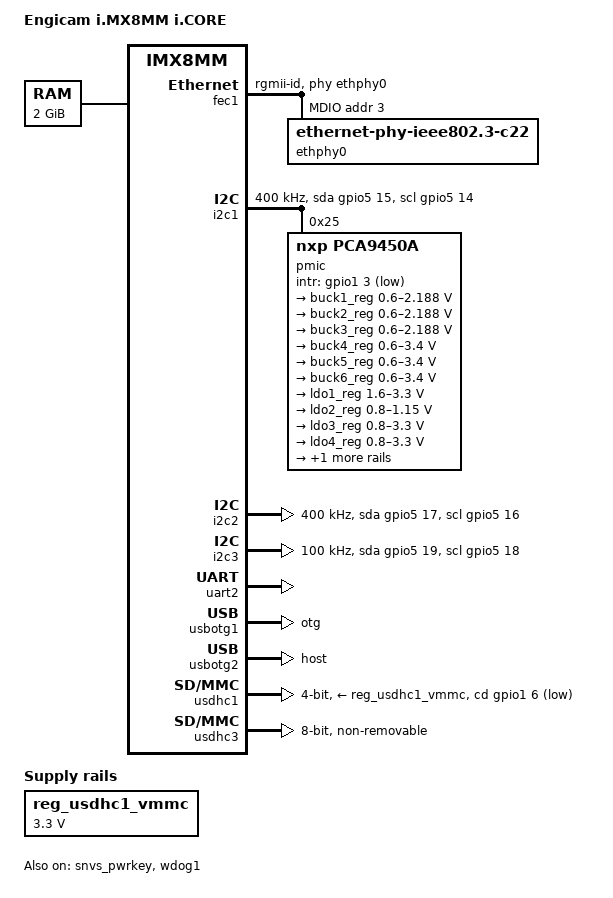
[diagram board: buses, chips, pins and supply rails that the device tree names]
// SPDX-License-Identifier: (GPL-2.0+ OR MIT)
/*
 * Copyright 2020 NXP
 */

/dts-v1/;

#include <dt-bindings/usb/pd.h>
#include "imx8mm.dtsi"

/ {
	model = "Engicam i.MX8MM i.CORE";
	compatible = "fsl,imx8mm-icore", "fsl,imx8mm";

	chosen {
		bootargs = "console=ttymxc1,115200 earlycon=ec_imx6q,0x30890000,115200";
		stdout-path = &uart2;
	};

	memory@40000000 {
		device_type = "memory";
		reg = <0x0 0x40000000 0 0x80000000>;
	};

	reg_usdhc1_vmmc: regulator-usdhc1 {
		compatible = "regulator-fixed";
		regulator-name = "VSDHC1_3V3";
		regulator-min-microvolt = <3300000>;
		regulator-max-microvolt = <3300000>;
		always-on;
	};
};

&A53_0 {
	cpu-supply = <&buck2_reg>;
};

&A53_1 {
	cpu-supply = <&buck2_reg>;
};

&A53_2 {
	cpu-supply = <&buck2_reg>;
};

&A53_3 {
	cpu-supply = <&buck2_reg>;
};

&fec1 {
	pinctrl-names = "default";
	pinctrl-0 = <&pinctrl_fec1>;
	phy-mode = "rgmii-id";
	phy-handle = <&ethphy0>;
	fsl,magic-packet;
	status = "okay";

	mdio {
		#address-cells = <1>;
		#size-cells = <0>;

		ethphy0: ethernet-phy@3 {
			compatible = "ethernet-phy-ieee802.3-c22";
			reg = <3>;
		};
	};
};

&i2c1 {
	clock-frequency = <400000>;
	pinctrl-names = "default", "gpio";
	pinctrl-0 = <&pinctrl_i2c1>;
	pinctrl-1 = <&pinctrl_i2c1_gpio>;
	scl-gpios = <&gpio5 14 GPIO_ACTIVE_HIGH>;
	sda-gpios = <&gpio5 15 GPIO_ACTIVE_HIGH>;

	pmic: pca9450@25 {
		reg = <0x25>;
		compatible = "nxp,pca9450a";
		/* PMIC PCA9450 PMIC_nINT GPIO1_IO3 */
		pinctrl-0 = <&pinctrl_pmic>;
		gpio_intr = <&gpio1 3 GPIO_ACTIVE_LOW>;

		regulators {
			#address-cells = <1>;
			#size-cells = <0>;

			pca9450,pmic-buck2-uses-i2c-dvs;
			/* Run/Standby voltage */
			pca9450,pmic-buck2-dvs-voltage = <950000>, <850000>;

			buck1_reg: regulator@0 {
				reg = <0>;
				regulator-compatible = "buck1";
				regulator-min-microvolt = <600000>;
				regulator-max-microvolt = <2187500>;
				regulator-boot-on;
				regulator-always-on;
				regulator-ramp-delay = <3125>;
			};

			buck2_reg: regulator@1 {
				reg = <1>;
				regulator-compatible = "buck2";
				regulator-min-microvolt = <600000>;
				regulator-max-microvolt = <2187500>;
				regulator-boot-on;
				regulator-always-on;
				regulator-ramp-delay = <3125>;
			};

			buck3_reg: regulator@2 {
				reg = <2>;
				regulator-compatible = "buck3";
				regulator-min-microvolt = <600000>;
				regulator-max-microvolt = <2187500>;
				regulator-boot-on;
				regulator-always-on;
			};

			buck4_reg: regulator@3 {
				reg = <3>;
				regulator-compatible = "buck4";
				regulator-min-microvolt = <600000>;
				regulator-max-microvolt = <3400000>;
				regulator-boot-on;
				regulator-always-on;
			};

			buck5_reg: regulator@4 {
				reg = <4>;
				regulator-compatible = "buck5";
				regulator-min-microvolt = <600000>;
				regulator-max-microvolt = <3400000>;
				regulator-boot-on;
				regulator-always-on;
			};

			buck6_reg: regulator@5 {
				reg = <5>;
				regulator-compatible = "buck6";
				regulator-min-microvolt = <600000>;
				regulator-max-microvolt = <3400000>;
				regulator-boot-on;
				regulator-always-on;
			};

			ldo1_reg: regulator@6 {
				reg = <6>;
				regulator-compatible = "ldo1";
				regulator-min-microvolt = <1600000>;
				regulator-max-microvolt = <3300000>;
				regulator-boot-on;
				regulator-always-on;
			};

			ldo2_reg: regulator@7 {
				reg = <7>;
				regulator-compatible = "ldo2";
				regulator-min-microvolt = <800000>;
				regulator-max-microvolt = <1150000>;
				regulator-boot-on;
				regulator-always-on;
			};

			ldo3_reg: regulator@8 {
				reg = <8>;
				regulator-compatible = "ldo3";
				regulator-min-microvolt = <800000>;
				regulator-max-microvolt = <3300000>;
				regulator-boot-on;
				regulator-always-on;
			};

			ldo4_reg: regulator@9 {
				reg = <9>;
				regulator-compatible = "ldo4";
				regulator-min-microvolt = <800000>;
				regulator-max-microvolt = <3300000>;
				regulator-boot-on;
				regulator-always-on;
			};

			ldo5_reg: regulator@10 {
				reg = <10>;
				regulator-compatible = "ldo5";
				regulator-min-microvolt = <1800000>;
				regulator-max-microvolt = <3300000>;
			};

		};
	};
};

&i2c2 {
	clock-frequency = <400000>;
	pinctrl-names = "default", "gpio";
	pinctrl-0 = <&pinctrl_i2c2>;
	pinctrl-1 = <&pinctrl_i2c2_gpio>;
	scl-gpios = <&gpio5 16 GPIO_ACTIVE_HIGH>;
	sda-gpios = <&gpio5 17 GPIO_ACTIVE_HIGH>;
	status = "okay";
};

&i2c3 {
	clock-frequency = <100000>;
	pinctrl-names = "default", "gpio";
	pinctrl-0 = <&pinctrl_i2c3>;
	pinctrl-1 = <&pinctrl_i2c3_gpio>;
	scl-gpios = <&gpio5 18 GPIO_ACTIVE_HIGH>;
	sda-gpios = <&gpio5 19 GPIO_ACTIVE_HIGH>;
	status = "okay";
};

&snvs_pwrkey {
	status = "okay";
};

&uart2 { /* console */
	pinctrl-names = "default";
	pinctrl-0 = <&pinctrl_uart2>;
	status = "okay";
};

&usbotg1 {
	dr_mode = "otg";
	status = "okay";
};

&usbotg2 {
	dr_mode = "host";
	status = "okay";
};

&usdhc1 {
	pinctrl-names = "default";
	pinctrl-0 = <&pinctrl_usdhc1>, <&pinctrl_usdhc1_gpio>;
	cd-gpios = <&gpio1 6 GPIO_ACTIVE_LOW>;
	max-frequency = <50000000>;
	bus-width = <4>;
	no-1-8-v;
	vmmc-supply = <&reg_usdhc1_vmmc>;
	status = "okay";
};

&usdhc3 {
	assigned-clocks = <&clk IMX8MM_CLK_USDHC3_ROOT>;
	assigned-clock-rates = <400000000>;
	pinctrl-names = "default", "state_100mhz", "state_200mhz";
	pinctrl-0 = <&pinctrl_usdhc3>;
	pinctrl-1 = <&pinctrl_usdhc3_100mhz>;
	pinctrl-2 = <&pinctrl_usdhc3_200mhz>;
	bus-width = <8>;
	non-removable;
	status = "okay";
};


&wdog1 {
	pinctrl-names = "default";
	pinctrl-0 = <&pinctrl_wdog>;
	fsl,ext-reset-output;
	status = "okay";
};

&iomuxc {

	pinctrl_fec1: fec1grp {
		fsl,pins = <
			MX8MM_IOMUXC_ENET_MDC_ENET1_MDC			0x3
			MX8MM_IOMUXC_ENET_MDIO_ENET1_MDIO		0x3
			MX8MM_IOMUXC_ENET_TD3_ENET1_RGMII_TD3		0x1f
			MX8MM_IOMUXC_ENET_TD2_ENET1_RGMII_TD2		0x1f
			MX8MM_IOMUXC_ENET_TD1_ENET1_RGMII_TD1		0x1f
			MX8MM_IOMUXC_ENET_TD0_ENET1_RGMII_TD0		0x1f
			MX8MM_IOMUXC_ENET_RD3_ENET1_RGMII_RD3		0x91
			MX8MM_IOMUXC_ENET_RD2_ENET1_RGMII_RD2		0x91
			MX8MM_IOMUXC_ENET_RD1_ENET1_RGMII_RD1		0x91
			MX8MM_IOMUXC_ENET_RD0_ENET1_RGMII_RD0		0x91
			MX8MM_IOMUXC_ENET_TXC_ENET1_RGMII_TXC		0x1f
			MX8MM_IOMUXC_ENET_RXC_ENET1_RGMII_RXC		0x91
			MX8MM_IOMUXC_ENET_RX_CTL_ENET1_RGMII_RX_CTL	0x91
			MX8MM_IOMUXC_ENET_TX_CTL_ENET1_RGMII_TX_CTL	0x1f
		>;
	};

	pinctrl_i2c1: i2c1grp {
		fsl,pins = <
			MX8MM_IOMUXC_I2C1_SCL_I2C1_SCL			0x400001c3
			MX8MM_IOMUXC_I2C1_SDA_I2C1_SDA			0x400001c3
		>;
	};

	pinctrl_i2c2: i2c2grp {
		fsl,pins = <
			MX8MM_IOMUXC_I2C2_SCL_I2C2_SCL			0x400001c3
			MX8MM_IOMUXC_I2C2_SDA_I2C2_SDA			0x400001c3
		>;
	};

	pinctrl_i2c3: i2c3grp {
		fsl,pins = <
			MX8MM_IOMUXC_I2C3_SCL_I2C3_SCL			0x400001c3
			MX8MM_IOMUXC_I2C3_SDA_I2C3_SDA			0x400001c3
		>;
	};

	pinctrl_i2c1_gpio: i2c1grp-gpio {
		fsl,pins = <
			MX8MM_IOMUXC_I2C1_SCL_GPIO5_IO14        		0x1c3
			MX8MM_IOMUXC_I2C1_SDA_GPIO5_IO15        	0x1c3
		>;
	};

	pinctrl_i2c2_gpio: i2c2grp-gpio {
		fsl,pins = <
			MX8MM_IOMUXC_I2C2_SCL_GPIO5_IO16        		0x1c3
			MX8MM_IOMUXC_I2C2_SDA_GPIO5_IO17        	0x1c3
		>;
	};

	pinctrl_i2c3_gpio: i2c3grp-gpio {
		fsl,pins = <
			MX8MM_IOMUXC_I2C3_SCL_GPIO5_IO18        		0x1c3
			MX8MM_IOMUXC_I2C3_SDA_GPIO5_IO19        	0x1c3
		>;
	};

	pinctrl_pmic: pmicirqgrp {
		fsl,pins = <
			MX8MM_IOMUXC_GPIO1_IO03_GPIO1_IO3		0x141
		>;
	};

	pinctrl_uart2: uart2grp {
		fsl,pins = <
			MX8MM_IOMUXC_UART2_RXD_UART2_DCE_RX	0x140
			MX8MM_IOMUXC_UART2_TXD_UART2_DCE_TX	0x140
		>;
	};

	pinctrl_usdhc1_gpio: usdhc1grpgpio {
		fsl,pins = <
			MX8MM_IOMUXC_GPIO1_IO06_GPIO1_IO6	0x41
		>;
	};
	
	pinctrl_usdhc1: usdhc1grp {
		fsl,pins = <
			MX8MM_IOMUXC_SD1_CLK_USDHC1_CLK		0x190
			MX8MM_IOMUXC_SD1_CMD_USDHC1_CMD		0x1d0
			MX8MM_IOMUXC_SD1_DATA0_USDHC1_DATA0	0x1d0
			MX8MM_IOMUXC_SD1_DATA1_USDHC1_DATA1	0x1d0
			MX8MM_IOMUXC_SD1_DATA2_USDHC1_DATA2	0x1d0
			MX8MM_IOMUXC_SD1_DATA3_USDHC1_DATA3	0x1d0
		>;
	};

	pinctrl_usdhc3: usdhc3grp {
		fsl,pins = <
			MX8MM_IOMUXC_NAND_WE_B_USDHC3_CLK               0x190
			MX8MM_IOMUXC_NAND_WP_B_USDHC3_CMD               0x1d0
			MX8MM_IOMUXC_NAND_DATA04_USDHC3_DATA0           0x1d0
			MX8MM_IOMUXC_NAND_DATA05_USDHC3_DATA1           0x1d0
			MX8MM_IOMUXC_NAND_DATA06_USDHC3_DATA2           0x1d0
			MX8MM_IOMUXC_NAND_DATA06_USDHC3_DATA2           0x1d0
			MX8MM_IOMUXC_NAND_DATA07_USDHC3_DATA3           0x1d0
			MX8MM_IOMUXC_NAND_RE_B_USDHC3_DATA4             0x1d0
			MX8MM_IOMUXC_NAND_CE2_B_USDHC3_DATA5            0x1d0
			MX8MM_IOMUXC_NAND_CE3_B_USDHC3_DATA6            0x1d0
			MX8MM_IOMUXC_NAND_CLE_USDHC3_DATA7              0x1d0
			MX8MM_IOMUXC_NAND_CE1_B_USDHC3_STROBE           0x190
		>;
	};

	pinctrl_usdhc3_100mhz: usdhc3-100mhzgrp {
		fsl,pins = <
			MX8MM_IOMUXC_NAND_WE_B_USDHC3_CLK               0x194
			MX8MM_IOMUXC_NAND_WP_B_USDHC3_CMD               0x1d4
			MX8MM_IOMUXC_NAND_DATA04_USDHC3_DATA0           0x1d4
			MX8MM_IOMUXC_NAND_DATA05_USDHC3_DATA1           0x1d4
			MX8MM_IOMUXC_NAND_DATA06_USDHC3_DATA2           0x1d4
			MX8MM_IOMUXC_NAND_DATA07_USDHC3_DATA3           0x1d4
			MX8MM_IOMUXC_NAND_RE_B_USDHC3_DATA4             0x1d4
			MX8MM_IOMUXC_NAND_CE2_B_USDHC3_DATA5            0x1d4
			MX8MM_IOMUXC_NAND_CE3_B_USDHC3_DATA6            0x1d4
			MX8MM_IOMUXC_NAND_CLE_USDHC3_DATA7              0x1d4
			MX8MM_IOMUXC_NAND_CE1_B_USDHC3_STROBE           0x194
		>;
	};

	pinctrl_usdhc3_200mhz: usdhc3-200mhzgrp {
		fsl,pins = <
			MX8MM_IOMUXC_NAND_WE_B_USDHC3_CLK               0x196
			MX8MM_IOMUXC_NAND_WP_B_USDHC3_CMD               0x1d6
			MX8MM_IOMUXC_NAND_DATA04_USDHC3_DATA0           0x1d6
			MX8MM_IOMUXC_NAND_DATA05_USDHC3_DATA1           0x1d6
			MX8MM_IOMUXC_NAND_DATA06_USDHC3_DATA2           0x1d6
			MX8MM_IOMUXC_NAND_DATA07_USDHC3_DATA3           0x1d6
			MX8MM_IOMUXC_NAND_RE_B_USDHC3_DATA4             0x1d6
			MX8MM_IOMUXC_NAND_CE2_B_USDHC3_DATA5            0x1d6
			MX8MM_IOMUXC_NAND_CE3_B_USDHC3_DATA6            0x1d6
			MX8MM_IOMUXC_NAND_CLE_USDHC3_DATA7              0x1d6
			MX8MM_IOMUXC_NAND_CE1_B_USDHC3_STROBE           0x196
		>;
	};

	pinctrl_wdog: wdoggrp {
		fsl,pins = <
			MX8MM_IOMUXC_GPIO1_IO02_WDOG1_WDOG_B	0xc6
		>;
	};
};
